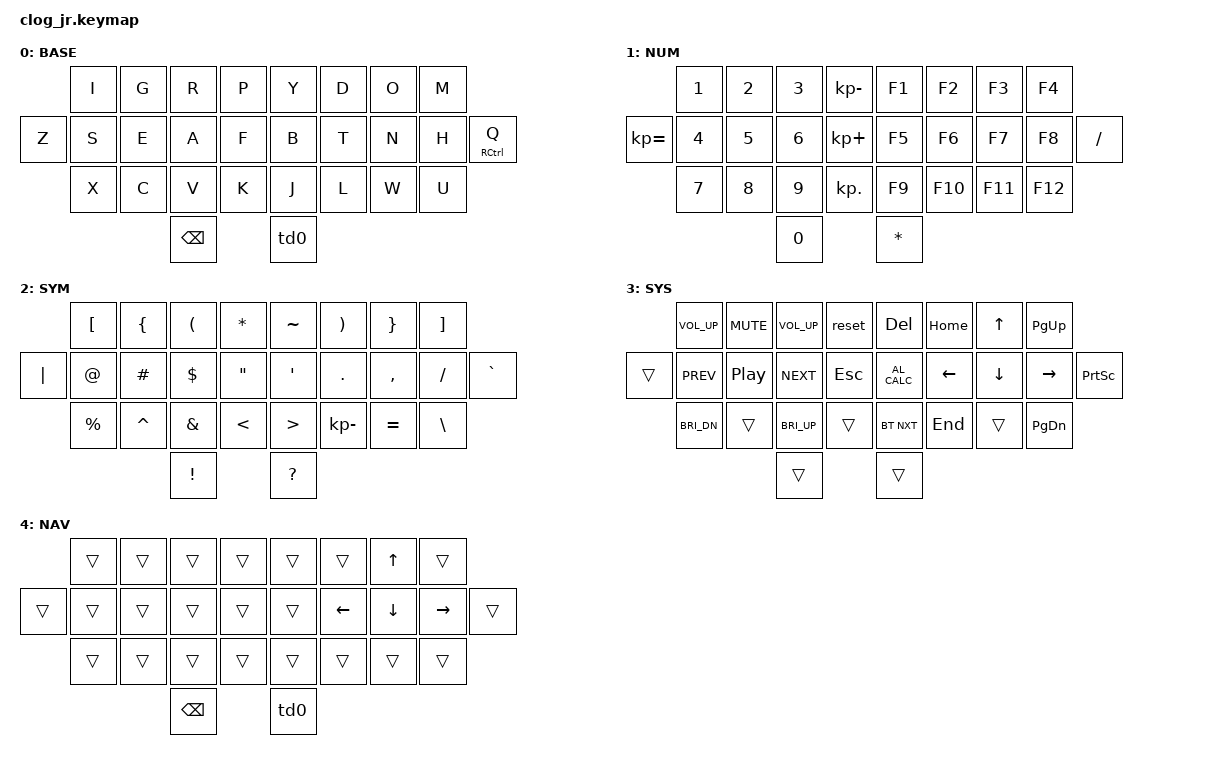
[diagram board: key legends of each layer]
/*
* Copyright (c) 2022 The ZMK Contributors
*
* SPDX-License-Identifier: MIT
*/

#include <behaviors.dtsi>
#include <dt-bindings/zmk/keys.h>
#include <dt-bindings/zmk/bt.h>

#define BASE 0
#define NUM 1
#define SYM 2
#define SYS 3
#define NAV 4

/ {
    behaviors {
    
        td0: tap_dance_0 {
            compatible = "zmk,behavior-tap-dance";
            label = "TAP_DANCE_0";
            #binding-cells = <0>;
            tapping-term-ms = <200>;
            bindings = <&kp SPACE>, <&kp ENTER>;
        };
    };
    
    macros {
        back_macro: back_macro {
            label = "back_macro";
            compatible = "zmk,behavior-macro";
            #binding-cells = <0>;
            bindings
                = <&macro_press &kp LALT>
                , <&macro_tap &kp LEFT>
                , <&macro_release &kp LALT>
                ;
            };
    };

    combos {
        compatible = "zmk,combos";
        combo_ltab {
            timeout-ms = <80>;
            key-positions = <0 1>;
            bindings = <&kp TAB>;
        };

        combo_lshift {
            timeout-ms = <80>;
            key-positions = <9 10>;
            bindings = <&kp LSHFT>;
        };

        combo_lcmd {
            timeout-ms = <80>;
            key-positions = <18 19>;
            bindings = <&kp LCMD>;
        };
        
        combo_lsys {
            timeout-ms = <80>;
            key-positions = <20 21>;
            bindings = <&mo 3>;
        };
        
        combo_lnum {
            timeout-ms = <80>;
            key-positions = <1 2>;
            bindings = <&mo 1>;
        };
        
        combo_lsym {
            timeout-ms = <80>;
            key-positions = <11 12>;
            bindings = <&mo 2>;
        };

        combo_ralt {
            timeout-ms = <80>;
            key-positions = <6 7>;
            bindings = <&kp RALT>;
        };

        combo_rshift {
            timeout-ms = <80>;
            key-positions = <15 16>;
            bindings = <&kp RSHFT>;
        };

        combo_rcmd {
            timeout-ms = <80>;
            key-positions = <24 25>;
            bindings = <&kp RCMD>;
        };

        combo_rsys {
            timeout-ms = <80>;
            key-positions = <23 24>;
            bindings = <&mo 3>;
        };
        
        combo_rnum {
            timeout-ms = <80>;
            key-positions = <5 6>;
            bindings = <&mo 1>;
        };
        
        combo_rsym {
            timeout-ms = <80>;
            key-positions = <14 15>;
            bindings = <&mo 2>;
        };

        combo_capslock {
            timeout-ms = <80>;
            key-positions = <8 9>;
            bindings = <&kp CAPS>;
        };
        
        combo_back {
            timeout-ms = <100>;
            key-positions = <18 19 27>;
            bindings = <&back_macro>;
        };
        
        combo_nav {
            timeout-ms = <80>;
            key-positions = <14 15 16>;
            bindings = <&tog NAV>;
        };
    };
    
    keymap {
        compatible = "zmk,keymap";

        BASE {
            bindings = <
            /*  0       1       2        3           4         5       6       7       */
              &kp I   &kp G     &kp R   &kp P       &kp Y     &kp D   &kp O   &kp M
      /* 8      9       10      11      12           13        14      15      16      17 */
      &kp Z   &kp S   &kp E     &kp A   &kp F       &kp B     &kp T   &kp N   &kp H   &mt RCTRL Q
          /*    18      19      20      21           22        23      24      25  */
              &kp X   &kp C     &kp V   &kp K       &kp J     &kp L   &kp W   &kp U
                      /*              26                  27      */
                                    &kp BSPC             &td0
            >;
        };
        
        NUM {
            bindings = <
         /*                1         2           3       -                  F1       F2          F3          F4  */
                       &kp N1     &kp N2     &kp N3    &kp KP_MINUS     &kp F1     &kp F2     &kp F3     &kp F4
         /*    =        4           5           6        +                  F5      F6          F7          F8       /  */
          &kp KP_EQUAL &kp N4     &kp N5     &kp N6    &kp KP_PLUS      &kp F5     &kp F6     &kp F7     &kp F8     &kp FSLH
         /*             7           8           9        .                  F9      F10         F11         F12   */
                       &kp N7    &kp N8     &kp N9     &kp KP_DOT       &kp F9      &kp F10    &kp F11    &kp F12
                                                    /*   0                  *    */
                                                       &kp N0           &kp ASTERISK   
            >;
        };

        SYM { 
            bindings = <
           /*             [          {           (         *               ~         )           }        ]  */
                       &kp LBKT   &kp LBRC   &kp LPAR   &kp ASTRK      &kp TILDE &kp RPAR    &kp RBRC  &kp RBKT
           /*    |       @           #           $        "               '          .           ,      /       `  */
             &kp PIPE  &kp AT     &kp HASH   &kp DLLR   &kp DQT        &kp SQT   &kp DOT     &kp COMMA &kp FSLH  &kp GRAVE
           /*            %           ^           &          <            >           -           =        \      */  
                       &kp PRCNT  &kp CARET  &kp AMPS   &kp LT          &kp GT   &kp KP_MINUS &kp EQUAL &kp BSLH
                       /*                                 !                ?             */
                                                       &kp EXCL         &kp QMARK   
            >;
        };

        SYS {
            bindings = <
                     &kp C_VOL_UP    &kp C_MUTE         &kp C_VOL_UP     &reset             &kp DEL       &kp HOME   &kp UP    &kp PG_UP  
            &trans   &kp C_PREV      &kp C_PLAY_PAUSE   &kp C_NEXT       &kp ESC            &kp C_AL_CALC &kp LEFT   &kp DOWN  &kp RIGHT   &kp PRINTSCREEN
                     &kp C_BRI_DN    &trans             &kp C_BRI_UP     &trans             &bt BT_NXT    &kp END    &trans    &kp PG_DN  
                                                       &trans                                    &trans
            >;
        };
        
        NAV {
            bindings = <
                /*  0       1       2        3            4         5         6         7       */
                  &trans  &trans  &trans   &trans       &trans   &trans     &kp UP     &trans
          /* 8      9       10       11      12           13        14         15         16         17 */
          &trans  &trans  &trans   &trans  &trans       &trans   &kp LEFT   &kp DOWN   &kp RIGHT   &trans
              /*    18      19      20      21            22       23        24        25  */
                  &trans  &trans  &trans   &trans       &trans  &trans      &trans     &trans
                          /*              26                  27      */
                                        &kp BSPC             &td0
            >;
        };
    };
};
